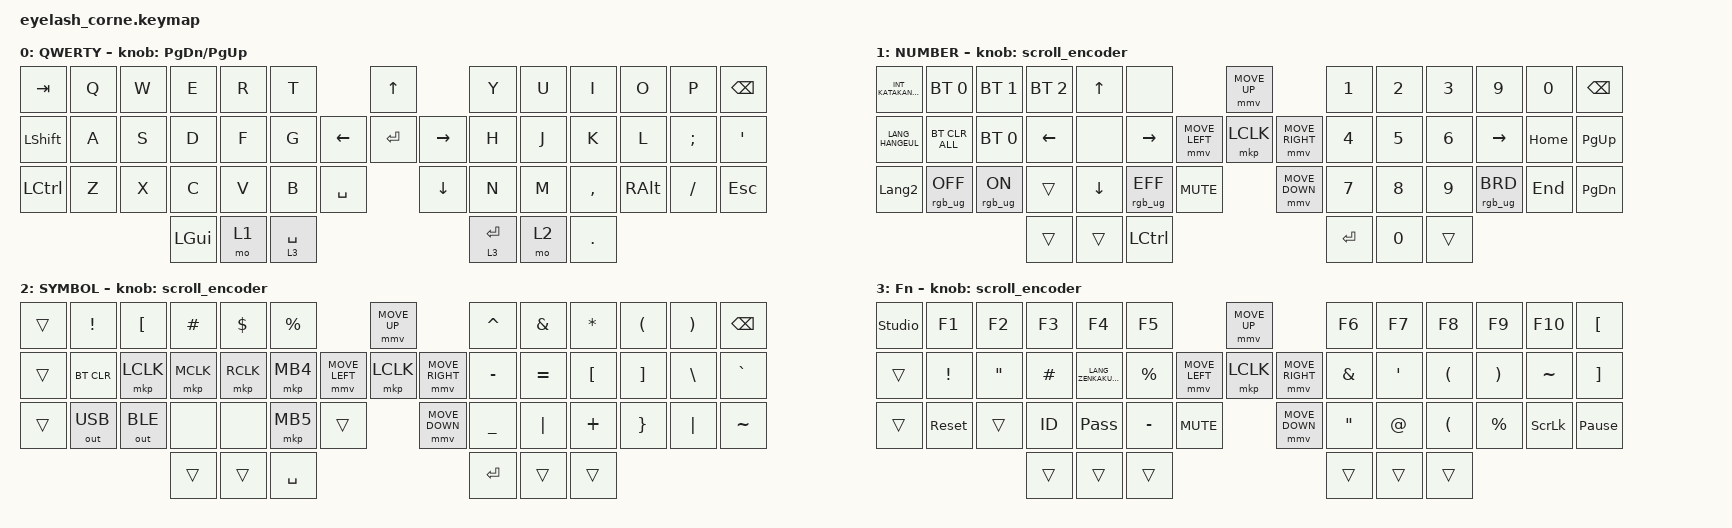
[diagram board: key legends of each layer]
#include <dt-bindings/zmk/mouse.h>
#include <input/processors.dtsi>
#include <behaviors.dtsi>
#include <dt-bindings/zmk/bt.h>
#include <dt-bindings/zmk/keys.h>
#include <dt-bindings/zmk/outputs.h>
#include <dt-bindings/zmk/pointing.h>
#include <dt-bindings/zmk/rgb.h>

/*

   &mmv_input_listener {
       input-processors = <&zip_xy_scaler 2 1>;
   };

   &msc_input_listener {
       input-processors = <&zip_xy_scaler 2 1>;
   };

 */

#define ZMK_MOUSE_DEFAULT_MOVE_VAL 1200  // 600
#define ZMK_MOUSE_DEFAULT_SCRL_VAL 20    // 10

/ {
    behaviors {
        td0: td0 {
            compatible = "zmk,behavior-tap-dance";
            display-name = "Shift/Caps Lock Tap Dance";
            #binding-cells = <0>;
            bindings = <&kp LEFT_SHIFT>, <&kp CAPS>;
        };
    };

    rgb_encoder: rgb_encoder {
        compatible = "zmk,behavior-sensor-rotate";
        #sensor-binding-cells = <0>;
        bindings = <&rgb_ug RGB_BRI>, <&rgb_ug RGB_BRD>;
    };

    scroll_encoder: scroll_encoder {
        compatible = "zmk,behavior-sensor-rotate";
        #sensor-binding-cells = <0>;
        bindings = <&msc SCRL_DOWN>, <&msc SCRL_UP>;

        tap-ms = <30>;
    };

    combos {
        compatible = "zmk,combos";

        ID {
            bindings = <&ID>;
            key-positions = <33 16>;
        };

        Pass {
            bindings = <&Pass>;
            key-positions = <44 17>;
        };

        at_sing {
            bindings = <&kp AT>;
            key-positions = <36 24>;
        };

        hash {
            bindings = <&kp HASH>;
            key-positions = <36 23>;
        };
    };

    macros {
        ID: ID {
            compatible = "zmk,behavior-macro";
            #binding-cells = <0>;
            bindings = <&kp LS(X) &kp LS(M) &kp N2 &kp N7 &kp N5 &kp N4 &kp N7 &kp TAB>;
            label = "ID";
        };

        Pass: Pass {
            compatible = "zmk,behavior-macro";
            #binding-cells = <0>;
            bindings = <&kp LS(A) &kp W &kp A &kp W &kp A &kp N &kp N &kp N2 &kp N5 &kp N1 &kp K &kp E &kp T &kp A &kp M &kp E &kp LEFT_BRACKET &kp ENTER>;
            label = "PASS";
        };
    };

    keymap {
        compatible = "zmk,keymap";

        default_layer {
            display-name = "QWERTY";
            bindings = <
&kp TAB         &kp Q  &kp W  &kp E     &kp R  &kp T                               &kp UP                &kp Y        &kp U  &kp I       &kp O          &kp P     &kp BSPC
&kp LEFT_SHIFT  &kp A  &kp S  &kp D     &kp F  &kp G                     &kp LEFT  &kp ENTER  &kp RIGHT  &kp H        &kp J  &kp K       &kp L          &kp SEMI  &kp SQT
&kp LCTRL       &kp Z  &kp X  &kp C     &kp V  &kp B        &kp SPACE              &kp DOWN              &kp N        &kp M  &kp COMMA   &kp RIGHT_ALT  &kp FSLH  &kp ESC
                              &kp LGUI  &mo 1  &lt 3 SPACE                                               &lt 3 ENTER  &mo 2  &kp PERIOD
            >;

            sensor-bindings = <&inc_dec_kp PAGE_DOWN PAGE_UP>;
        };

        lower_layer {
            display-name = "NUMBER";
            bindings = <
&kp INT_KATAKANAHIRAGANA  &bt BT_SEL 0     &bt BT_SEL 1    &bt BT_SEL 2  &kp UP          &none                                          &mmv MOVE_UP                     &kp NUMBER_1  &kp NUMBER_2  &kp NUMBER_3  &kp N9           &kp N0    &kp BSPC
&kp LANG_HANGEUL          &bt BT_CLR_ALL   &bt BT_SEL 0    &kp LEFT      &none           &kp RIGHT_ARROW                &mmv MOVE_LEFT  &mkp LCLK       &mmv MOVE_RIGHT  &kp NUMBER_4  &kp N5        &kp NUMBER_6  &kp RIGHT        &kp HOME  &kp PG_UP
&kp LANGUAGE_2            &rgb_ug RGB_OFF  &rgb_ug RGB_ON  &trans        &kp DOWN_ARROW  &rgb_ug RGB_EFF  &kp C_MUTE                    &mmv MOVE_DOWN                   &kp N7        &kp N8        &kp N9        &rgb_ug RGB_BRD  &kp END   &kp PG_DN
                                                           &trans        &trans          &kp LCTRL                                                                       &kp ENTER     &kp N0        &trans
            >;

            sensor-bindings = <&scroll_encoder>;
        };

        raise_layer {
            display-name = "SYMBOL";
            bindings = <
&trans  &kp EXCL      &kp LEFT_BRACKET  &kp HASH   &kp DLLR   &kp PRCNT                            &mmv MOVE_UP                     &kp CARET  &kp AMPS   &kp ASTRK  &kp LPAR  &kp RPAR  &kp BSPC
&trans  &bt BT_CLR    &mkp LCLK         &mkp MCLK  &mkp RCLK  &mkp MB4             &mmv MOVE_LEFT  &mkp LCLK       &mmv MOVE_RIGHT  &kp MINUS  &kp EQUAL  &kp LBKT   &kp RBKT  &kp BSLH  &kp GRAVE
&trans  &out OUT_USB  &out OUT_BLE      &none      &none      &mkp MB5   &trans                    &mmv MOVE_DOWN                   &kp UNDER  &kp PIPE   &kp PLUS   &kp RBRC  &kp PIPE  &kp TILDE
                                        &trans     &trans     &kp SPACE                                                             &kp RET    &trans     &trans
            >;

            sensor-bindings = <&scroll_encoder>;
        };

        layer_3 {
            display-name = "Fn";
            bindings = <
&studio_unlock  &kp F1           &kp F2             &kp F3    &kp F4                   &kp F5                                     &mmv MOVE_UP                     &kp F6             &kp F7   &kp F8                &kp F9                 &kp F10         &kp LEFT_BRACKET
&trans          &kp EXCLAMATION  &kp DOUBLE_QUOTES  &kp HASH  &kp LANG_ZENKAKUHANKAKU  &kp PERCENT                &mmv MOVE_LEFT  &mkp LCLK       &mmv MOVE_RIGHT  &kp AMPERSAND      &kp SQT  &kp LEFT_PARENTHESIS  &kp RIGHT_PARENTHESIS  &kp TILDE       &kp RIGHT_BRACKET
&trans          &sys_reset       &trans             &ID       &Pass                    &kp MINUS    &kp C_MUTE                    &mmv MOVE_DOWN                   &kp DOUBLE_QUOTES  &kp AT   &kp LEFT_PARENTHESIS  &kp PERCENT            &kp SCROLLLOCK  &kp PAUSE_BREAK
                                                    &trans    &trans                   &trans                                                                      &trans             &trans   &trans
            >;

            sensor-bindings = <&scroll_encoder>;
        };
    };
};
